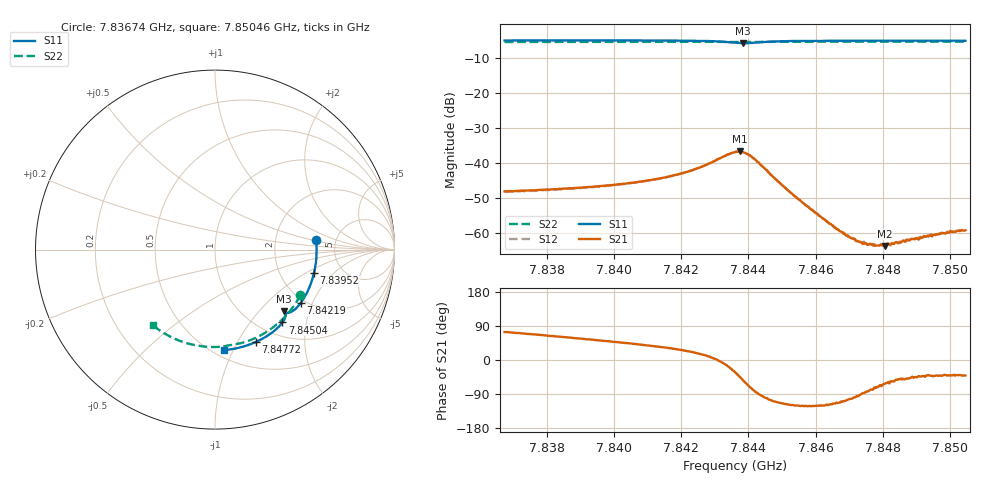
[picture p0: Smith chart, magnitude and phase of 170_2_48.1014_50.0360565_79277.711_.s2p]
#  HZ  S  RI  R  50.00
! Rohde & Schwarz Vector Network Analyzer
! Rohde-Schwarz,ZNB20-2Port,1311601062101988,3.16
! Created: UTC 12/23/2023, 3:51:40 AM
! freq[Hz]  re:S11  im:S11  re:S21  im:S21  re:S12  im:S12  re:S22  im:S22
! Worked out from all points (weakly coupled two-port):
!   401 points, 7.83674 GHz to 7.85046 GHz, reference 50 ohm
!   highest |S21| = -36.72 dB at 7.84374 GHz (marker M1); lowest = -63.8 dB at 7.84806 GHz (marker M2)
!   lowest |S11| = -5.7 dB at 7.84384 GHz (marker M3), VSWR 3.14, Z = 73.9 - j69.4 ohm
!   |S11| at or under -10 dB: nowhere
!   |S22| runs from -5.4 to -5.3 dB; largest |S21 - S12| = 0.00028
!   S11 on the Smith chart (normalised r, x): 7.83674 GHz: 3.52, +0.55; 7.83952 GHz: 3.11, -1.20; 7.84219 GHz: 1.88, -1.65; 7.84504 GHz: 1.25, -1.46; 7.84772 GHz: 0.79, -1.19; 7.85046 GHz: 0.56, -0.92
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7.836736e9  0.5635 0.0533  0.00109 0.00376  0.00108 0.00369  0.4757 -0.2538
7.839035e9  0.558 -0.0994  0.00246 0.00368  0.00247 0.00365  0.3808 -0.3833
7.839515e9  0.5515 -0.1309  0.00283 0.00367  0.00283 0.00358  0.3563 -0.4064
7.840579e9  0.5302 -0.1996  0.00383 0.00355  0.00379 0.00358  0.2971 -0.4518
7.841334e9  0.5089 -0.247  0.00489 0.00344  0.00483 0.00339  0.2517 -0.4791
7.842192e9  0.4765 -0.2991  0.00688 0.00295  0.00686 0.00301  0.1967 -0.5041
7.843084e9  0.4265 -0.346  0.0113 -2.56e-05  0.0113 -9.69e-05  0.137 -0.523
7.843599e9  0.3907 -0.3505  0.012 -0.0076  0.0121 -0.00762  0.1025 -0.5295
7.843736e9  0.3863 -0.3467  0.0105 -0.0102  0.0105 -0.00999  0.0936 -0.5309
7.843839e9  0.3858 -0.3441  0.00845 -0.0115  0.00845 -0.0114  0.0871 -0.5318
7.844148e9  0.3924 -0.3487  0.00215 -0.0115  0.00219 -0.0116  0.0675 -0.5358
7.84504e9  0.376 -0.4059  -0.00199 -0.0042  -0.00197 -0.00424  0.00519 -0.5427
7.845898e9  0.3333 -0.4501  -0.00112 -0.00183  -0.00108 -0.00183  -0.055 -0.5408
7.846584e9  0.295 -0.4782  -0.000499 -0.00108  -0.00048 -0.00108  -0.1029 -0.5344
7.846996e9  0.2709 -0.4929  -0.000203 -0.000856  -0.000215 -0.000845  -0.1314 -0.5282
7.847339e9  0.2505 -0.504  -1.12e-05 -0.000745  -6.09e-05 -0.000738  -0.1545 -0.5221
7.847717e9  0.2275 -0.5148  0.000142 -0.000651  0.000179 -0.000619  -0.1798 -0.5141
7.84806e9  0.2062 -0.5237  0.000298 -0.000575  0.000293 -0.000625  -0.2025 -0.506
7.848197e9  0.1977 -0.5271  0.000318 -0.000595  0.000329 -0.000603  -0.2114 -0.5023
7.848403e9  0.1847 -0.5318  0.000457 -0.000579  0.000407 -0.000588  -0.2247 -0.4967
7.849467e9  0.1165 -0.5505  0.000661 -0.000587  0.000727 -0.000624  -0.2905 -0.4619
7.850462e9  0.051 -0.5598  0.00082 -0.000711  0.000829 -0.000709  -0.3475 -0.4216
